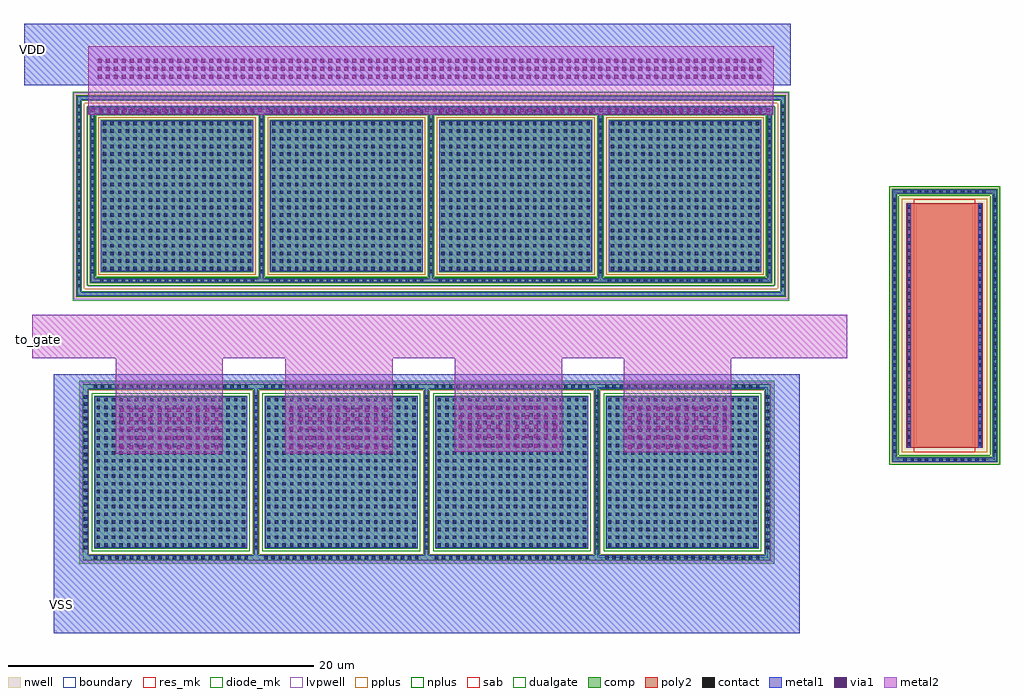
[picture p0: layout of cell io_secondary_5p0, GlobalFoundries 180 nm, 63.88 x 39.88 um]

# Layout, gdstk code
from math import pi, radians
import gdstk
lib = gdstk.Library(unit=1e-6, precision=1e-09)
def R(c, l, rs):  # rectangles x0, y0, x1, y1
    for r in rs: c.add(gdstk.rectangle(r[:2], r[2:], *l))
def A(c, l, x, y, w, h, nx, ny, dx, dy):  # array of equal rectangles
    R(c, l, [(x+i*dx, y+j*dy, x+i*dx+w, y+j*dy+h) for i in range(nx) for j in range(ny)])
boundary = (0, 0)
nwell = (21, 0)
comp = (22, 0)
poly2 = (30, 0)
pplus = (31, 0)
nplus = (32, 0)
contact = (33, 0)
metal1 = (34, 0)
via1 = (35, 0)
metal2 = (36, 0)
sab = (49, 0)
dualgate = (55, 0)
res_mk = (110, 5)
diode_mk = (115, 5)
lvpwell = (204, 0)

ppolyf_u_4vjxjk = lib.new_cell('ppolyf_u_4VJXJK')
R(ppolyf_u_4vjxjk, boundary, [(-8.78,-3.29,8.78,3.29)])
R(ppolyf_u_4vjxjk, nwell, [(-9.08,-3.59,9.08,3.59)])
R(ppolyf_u_4vjxjk, comp, [(-8.96,-3.47,8.96,-3.11), (-8.96,-3.11,-8.6,3.11), (8.6,-3.11,8.96,3.11), (-8.96,3.11,8.96,3.47)])
R(ppolyf_u_4vjxjk, poly2, [(-8,-2.51,8,2.51)])
R(ppolyf_u_4vjxjk, pplus, [(-8.3,-2.81,8.3,2.81)])
R(ppolyf_u_4vjxjk, nplus, [(-9.12,-3.63,9.12,-3), (-9.12,-3,-8.49,3), (8.49,-3,9.12,3), (-9.12,3,9.12,3.63)])
A(ppolyf_u_4vjxjk, contact, -8.335, -3.4, 0.22, 0.22, 36, 2, 0.47, 6.58)
A(ppolyf_u_4vjxjk, contact, -8.89, -2.695, 0.22, 0.22, 1, 12, 0, 0.47)
A(ppolyf_u_4vjxjk, contact, 8.67, -2.695, 0.22, 0.22, 1, 12, 0, 0.47)
A(ppolyf_u_4vjxjk, contact, -7.865, -2.44, 0.22, 0.22, 34, 2, 0.47, 4.66)
R(ppolyf_u_4vjxjk, metal1, [(-8.895,-3.405,8.895,-3.175), (-8.895,-3.175,-8.665,3.175), (8.665,-3.175,8.895,3.175), (-7.99,-2.445,7.99,-2.215), (-7.99,2.215,7.99,2.445), (-8.895,3.175,8.895,3.405)])
R(ppolyf_u_4vjxjk, sab, [(-8.28,-2,8.28,2)])
R(ppolyf_u_4vjxjk, res_mk, [(-8,-2,8,2)])

diode_pd2nw_06v0_5dg9hc = lib.new_cell('diode_pd2nw_06v0_5DG9HC')
R(diode_pd2nw_06v0_5dg9hc, boundary, [(11.08,-5.54,22.16,5.54)])
R(diode_pd2nw_06v0_5dg9hc, nwell, [(-22.5,-5.88,22.5,5.88)])
A(diode_pd2nw_06v0_5dg9hc, comp, -22.34, -5.36, 0.36, 10.72, 5, 1, 11.08, 0)
A(diode_pd2nw_06v0_5dg9hc, comp, -21.62, -5, 10, 10, 4, 1, 11.08, 0)
R(diode_pd2nw_06v0_5dg9hc, comp, [(-23.22,-6.6,23.22,-6.24), (-23.22,-6.24,-22.86,6.24), (22.86,-6.24,23.22,6.24), (-22.34,-5.72,22.34,-5.36), (-22.34,5.36,22.34,5.72), (-23.22,6.24,23.22,6.6)])
A(diode_pd2nw_06v0_5dg9hc, pplus, -21.78, -5.16, 10.32, 10.32, 4, 1, 11.08, 0)
R(diode_pd2nw_06v0_5dg9hc, pplus, [(-23.24,-6.62,23.24,-6.115), (-23.25,-6.115,23.25,-6.08), (-23.25,-6.08,-22.7,6.08), (22.7,-6.08,23.25,6.08), (-23.25,6.08,23.25,6.115), (-23.24,6.115,23.24,6.62)])
A(diode_pd2nw_06v0_5dg9hc, nplus, -11.29, -5.29, 0.42, 10.58, 3, 1, 11.08, 0)
R(diode_pd2nw_06v0_5dg9hc, nplus, [(-22.5,-5.88,22.5,-5.29), (-22.5,-5.29,-21.91,5.29), (21.91,-5.29,22.5,5.29), (-22.5,5.29,22.5,5.88)])
A(diode_pd2nw_06v0_5dg9hc, contact, -23.15, -5.985, 0.22, 0.22, 1, 26, 0, 0.47)
A(diode_pd2nw_06v0_5dg9hc, contact, 22.93, -5.985, 0.22, 0.22, 1, 26, 0, 0.47)
A(diode_pd2nw_06v0_5dg9hc, contact, -21.665, -5.65, 0.22, 0.22, 22, 2, 0.47, 11.08)
A(diode_pd2nw_06v0_5dg9hc, contact, -10.585, -5.65, 0.22, 0.22, 22, 2, 0.47, 11.08)
A(diode_pd2nw_06v0_5dg9hc, contact, 0.495, -5.65, 0.22, 0.22, 22, 2, 0.47, 11.08)
A(diode_pd2nw_06v0_5dg9hc, contact, 11.575, -5.65, 0.22, 0.22, 22, 2, 0.47, 11.08)
A(diode_pd2nw_06v0_5dg9hc, contact, -22.27, -5.045, 0.22, 0.22, 5, 22, 11.08, 0.47)
A(diode_pd2nw_06v0_5dg9hc, contact, -21.48, -4.86, 0.22, 0.22, 20, 20, 0.5, 0.5)
A(diode_pd2nw_06v0_5dg9hc, contact, -10.4, -4.86, 0.22, 0.22, 20, 20, 0.5, 0.5)
A(diode_pd2nw_06v0_5dg9hc, contact, 0.68, -4.86, 0.22, 0.22, 20, 20, 0.5, 0.5)
A(diode_pd2nw_06v0_5dg9hc, contact, 11.76, -4.86, 0.22, 0.22, 20, 20, 0.5, 0.5)
A(diode_pd2nw_06v0_5dg9hc, metal1, -22.275, -5.425, 0.23, 10.85, 5, 1, 11.08, 0)
A(diode_pd2nw_06v0_5dg9hc, metal1, -21.61, -4.935, 9.98, 9.87, 4, 1, 11.08, 0)
R(diode_pd2nw_06v0_5dg9hc, metal1, [(-23.155,-6.535,23.155,-6.305), (-23.155,-6.305,-22.925,6.305), (22.925,-6.305,23.155,6.305), (-22.275,-5.655,22.275,-5.425), (-22.275,5.425,22.275,5.655), (-23.155,6.305,23.155,6.535)])
R(diode_pd2nw_06v0_5dg9hc, dualgate, [(-23.46,-6.84,23.46,6.84)])
A(diode_pd2nw_06v0_5dg9hc, diode_mk, -21.62, -5, 10, 10, 4, 1, 11.08, 0)
R(diode_pd2nw_06v0_5dg9hc, lvpwell, [(-23.38,-6.76,23.38,-5.88), (-23.38,-5.88,-22.5,5.88), (22.5,-5.88,23.38,5.88), (-23.38,5.88,23.38,6.76)])

diode_nd2ps_06v0_mv3sz3 = lib.new_cell('diode_nd2ps_06v0_MV3SZ3')
R(diode_nd2ps_06v0_mv3sz3, boundary, [(11.16,-5.58,22.32,5.58)])
A(diode_nd2ps_06v0_mv3sz3, comp, -22.5, -5.4, 0.36, 10.8, 5, 1, 11.16, 0)
A(diode_nd2ps_06v0_mv3sz3, comp, -21.74, -5, 10, 10, 4, 1, 11.16, 0)
R(diode_nd2ps_06v0_mv3sz3, comp, [(-22.5,-5.76,22.5,-5.4), (-22.5,5.4,22.5,5.76)])
A(diode_nd2ps_06v0_mv3sz3, pplus, -22.015, -5.79, 10.55, 0.01, 4, 2, 11.16, 11.57)
A(diode_nd2ps_06v0_mv3sz3, pplus, -11.37, -5.37, 0.42, 10.74, 3, 1, 11.16, 0)
R(diode_nd2ps_06v0_mv3sz3, pplus, [(-22.52,-5.78,22.52,-5.37), (-22.52,-5.37,-22.11,-5.275), (22.11,-5.37,22.52,-5.275), (-22.53,-5.275,-22.11,5.275), (22.11,-5.275,22.53,5.275), (-22.52,5.275,-22.11,5.37), (22.11,5.275,22.52,5.37), (-22.52,5.37,22.52,5.78)])
A(diode_nd2ps_06v0_mv3sz3, nplus, -21.9, -5.16, 10.32, 10.32, 4, 1, 11.16, 0)
A(diode_nd2ps_06v0_mv3sz3, contact, -21.785, -5.69, 0.22, 0.22, 22, 2, 0.47, 11.16)
A(diode_nd2ps_06v0_mv3sz3, contact, -10.625, -5.69, 0.22, 0.22, 22, 2, 0.47, 11.16)
A(diode_nd2ps_06v0_mv3sz3, contact, 0.535, -5.69, 0.22, 0.22, 22, 2, 0.47, 11.16)
A(diode_nd2ps_06v0_mv3sz3, contact, 11.695, -5.69, 0.22, 0.22, 22, 2, 0.47, 11.16)
A(diode_nd2ps_06v0_mv3sz3, contact, -22.43, -5.045, 0.22, 0.22, 5, 22, 11.16, 0.47)
A(diode_nd2ps_06v0_mv3sz3, contact, -21.6, -4.86, 0.22, 0.22, 20, 20, 0.5, 0.5)
A(diode_nd2ps_06v0_mv3sz3, contact, -10.44, -4.86, 0.22, 0.22, 20, 20, 0.5, 0.5)
A(diode_nd2ps_06v0_mv3sz3, contact, 0.72, -4.86, 0.22, 0.22, 20, 20, 0.5, 0.5)
A(diode_nd2ps_06v0_mv3sz3, contact, 11.88, -4.86, 0.22, 0.22, 20, 20, 0.5, 0.5)
A(diode_nd2ps_06v0_mv3sz3, metal1, -22.435, -5.465, 0.23, 10.93, 5, 1, 11.16, 0)
A(diode_nd2ps_06v0_mv3sz3, metal1, -21.73, -4.935, 9.98, 9.87, 4, 1, 11.16, 0)
R(diode_nd2ps_06v0_mv3sz3, metal1, [(-22.435,-5.695,22.435,-5.465), (-22.435,5.465,22.435,5.695)])
R(diode_nd2ps_06v0_mv3sz3, dualgate, [(-22.74,-6,22.74,6)])
A(diode_nd2ps_06v0_mv3sz3, diode_mk, -21.74, -5, 10, 10, 4, 1, 11.16, 0)
R(diode_nd2ps_06v0_mv3sz3, lvpwell, [(-22.62,-5.88,22.62,5.88)])

io_secondary_5p0 = lib.new_cell('io_secondary_5p0')
R(io_secondary_5p0, metal1, [(-35.55,-4.95,13.25,0.15), (-35.55,0.15,-33.3,11.05), (11,0.15,13.25,11.05), (-31.41,6.985,-24.605,9.905), (-20.325,6.985,-13.52,9.905), (1.845,7.04,8.65,9.96), (-9.24,7.09,-2.435,10.01), (-35.55,11.05,13.25,12), (11.09,29.005,11.51,29.035), (-33.265,29.035,11.51,29.485), (11.09,29.485,11.51,29.495), (-37.51,30.905,12.665,34.93)])
A(io_secondary_5p0, via1, -31.24, 7.075, 0.26, 0.26, 11, 5, 0.62, 0.62)
A(io_secondary_5p0, via1, -20.155, 7.075, 0.26, 0.26, 11, 5, 0.62, 0.62)
A(io_secondary_5p0, via1, 2.015, 7.13, 0.26, 0.26, 11, 5, 0.62, 0.62)
A(io_secondary_5p0, via1, -9.07, 7.18, 0.26, 0.26, 11, 5, 0.62, 0.62)
A(io_secondary_5p0, via1, -33.13, 29.13, 0.26, 0.26, 86, 1, 0.52, 0)
A(io_secondary_5p0, via1, -32.67, 31.34, 0.26, 0.26, 84, 3, 0.52, 0.52)
R(io_secondary_5p0, metal2, [(-31.52,6.8,-24.49,13.05), (-20.415,6.825,-13.385,13.05), (1.755,6.875,8.785,13.05), (-9.325,6.91,-2.295,13.05), (-36.98,13.05,16.37,15.875), (-33.3,28.97,11.545,30.645), (-33.31,30.645,11.55,33.46)])
io_secondary_5p0.add(gdstk.Reference(ppolyf_u_4vjxjk, (22.74,15.18), rotation=3*pi/2))
io_secondary_5p0.add(gdstk.Reference(diode_pd2nw_06v0_5dg9hc, (-10.87,23.66)))
io_secondary_5p0.add(gdstk.Reference(diode_nd2ps_06v0_mv3sz3, (-11.16,5.58)))
io_secondary_5p0.add(gdstk.Label('VSS', (-35.05,-3.05), layer=34, texttype=10))
io_secondary_5p0.add(gdstk.Label('to_gate', (-36.535,14.245), layer=36, texttype=10))
io_secondary_5p0.add(gdstk.Label('VDD', (-36.985,33.245), layer=34, texttype=10))

lib.write_gds('io_secondary_5p0.gds')
